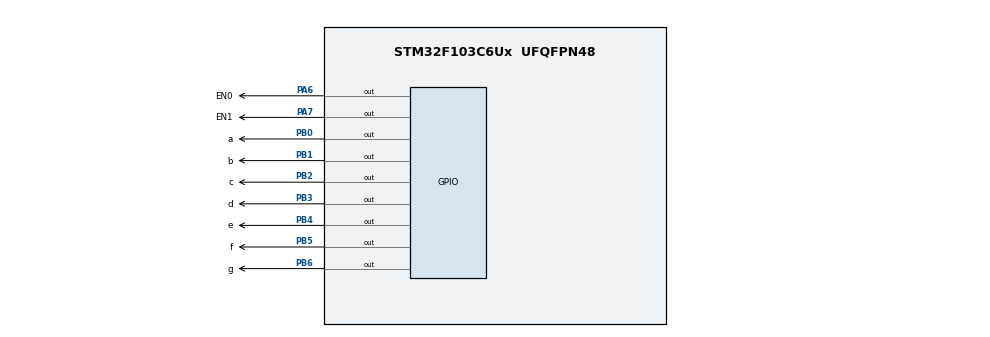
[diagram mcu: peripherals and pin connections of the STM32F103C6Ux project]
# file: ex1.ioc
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Mcu.Family=STM32F1
Mcu.Name=STM32F103C6Ux
Mcu.Package=UFQFPN48
NVIC.PriorityGroup=NVIC_PRIORITYGROUP_4
NVIC.TIM2_IRQn=true\:0\:0\:false\:false\:true\:true\:true
PA6.GPIO_Label=EN0
PA6.Signal=GPIO_Output
PA7.GPIO_Label=EN1
PA7.Signal=GPIO_Output
PB0.GPIO_Label=a
PB0.Signal=GPIO_Output
PB1.GPIO_Label=b
PB1.Signal=GPIO_Output
PB2.GPIO_Label=c
PB2.Signal=GPIO_Output
PB3.GPIO_Label=d
PB3.Signal=GPIO_Output
PB4.GPIO_Label=e
PB4.Signal=GPIO_Output
PB5.GPIO_Label=f
PB5.Signal=GPIO_Output
PB6.GPIO_Label=g
PB6.Signal=GPIO_Output
ProjectManager.HeapSize=0x200
ProjectManager.StackSize=0x400
ProjectManager.TargetToolchain=STM32CubeIDE
RCC.APB1Freq_Value=8000000
RCC.APB2Freq_Value=8000000
TIM2.Period=9
TIM2.Prescaler=7999
VP_SYS_VS_ND.Mode=No_Debug
VP_TIM2_VS_ClockSourceINT.Mode=Internal
board=custom

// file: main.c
/* USER CODE BEGIN Header */
/**
  ******************************************************************************
  * @file           : main.c
  * @brief          : Main program body
  ******************************************************************************
  * @attention
  *
  * <h2><center>&copy; Copyright (c) 2022 STMicroelectronics.
  * All rights reserved.</center></h2>
  *
  * This software component is licensed by ST under BSD 3-Clause license,
  * the "License"; You may not use this file except in compliance with the
  * License. You may obtain a copy of the License at:
  *                        opensource.org/licenses/BSD-3-Clause
  *
  ******************************************************************************
  */
/* USER CODE END Header */
#include "main.h"

TIM_HandleTypeDef htim2;

void SystemClock_Config(void);
static void MX_GPIO_Init(void);
static void MX_TIM2_Init(void);

int main(void)
{

  /* MCU Configuration--------------------------------------------------------*/

  /* Reset of all peripherals, Initializes the Flash interface and the Systick. */
  HAL_Init();

  /* Configure the system clock */
  SystemClock_Config();

  /* Initialize all configured peripherals */
  MX_GPIO_Init();
  MX_TIM2_Init();
  /* USER CODE BEGIN 2 */
   HAL_TIM_Base_Start_IT (&htim2);
  /* USER CODE END 2 */

  /* Infinite loop */
  while (1)
  {

  }
}

void SystemClock_Config(void)
{
  RCC_OscInitTypeDef RCC_OscInitStruct = {0};
  RCC_ClkInitTypeDef RCC_ClkInitStruct = {0};

  /** Initializes the RCC Oscillators according to the specified parameters
  * in the RCC_OscInitTypeDef structure.
  */
  RCC_OscInitStruct.OscillatorType = RCC_OSCILLATORTYPE_HSI;
  RCC_OscInitStruct.HSIState = RCC_HSI_ON;
  RCC_OscInitStruct.HSICalibrationValue = RCC_HSICALIBRATION_DEFAULT;
  RCC_OscInitStruct.PLL.PLLState = RCC_PLL_NONE;
  if (HAL_RCC_OscConfig(&RCC_OscInitStruct) != HAL_OK)
  {
    Error_Handler();
  }
  /** Initializes the CPU, AHB and APB buses clocks
  */
  RCC_ClkInitStruct.ClockType = RCC_CLOCKTYPE_HCLK|RCC_CLOCKTYPE_SYSCLK
                              |RCC_CLOCKTYPE_PCLK1|RCC_CLOCKTYPE_PCLK2;
  RCC_ClkInitStruct.SYSCLKSource = RCC_SYSCLKSOURCE_HSI;
  RCC_ClkInitStruct.AHBCLKDivider = RCC_SYSCLK_DIV1;
  RCC_ClkInitStruct.APB1CLKDivider = RCC_HCLK_DIV1;
  RCC_ClkInitStruct.APB2CLKDivider = RCC_HCLK_DIV1;

  if (HAL_RCC_ClockConfig(&RCC_ClkInitStruct, FLASH_LATENCY_0) != HAL_OK)
  {
    Error_Handler();
  }
}

static void MX_TIM2_Init(void)
{

  TIM_ClockConfigTypeDef sClockSourceConfig = {0};
  TIM_MasterConfigTypeDef sMasterConfig = {0};

  htim2.Instance = TIM2;
  htim2.Init.Prescaler = 7999;
  htim2.Init.CounterMode = TIM_COUNTERMODE_UP;
  htim2.Init.Period = 9;
  htim2.Init.ClockDivision = TIM_CLOCKDIVISION_DIV1;
  htim2.Init.AutoReloadPreload = TIM_AUTORELOAD_PRELOAD_DISABLE;
  if (HAL_TIM_Base_Init(&htim2) != HAL_OK)
  {
    Error_Handler();
  }
  sClockSourceConfig.ClockSource = TIM_CLOCKSOURCE_INTERNAL;
  if (HAL_TIM_ConfigClockSource(&htim2, &sClockSourceConfig) != HAL_OK)
  {
    Error_Handler();
  }
  sMasterConfig.MasterOutputTrigger = TIM_TRGO_RESET;
  sMasterConfig.MasterSlaveMode = TIM_MASTERSLAVEMODE_DISABLE;
  if (HAL_TIMEx_MasterConfigSynchronization(&htim2, &sMasterConfig) != HAL_OK)
  {
    Error_Handler();
  }

}

static void MX_GPIO_Init(void)
{
  GPIO_InitTypeDef GPIO_InitStruct = {0};

  /* GPIO Ports Clock Enable */
  __HAL_RCC_GPIOA_CLK_ENABLE();
  __HAL_RCC_GPIOB_CLK_ENABLE();

  /*Configure GPIO pin Output Level */
  HAL_GPIO_WritePin(GPIOA, EN0_Pin|EN1_Pin, GPIO_PIN_RESET);

  /*Configure GPIO pin Output Level */
  HAL_GPIO_WritePin(GPIOB, a_Pin|b_Pin|c_Pin|d_Pin
                          |e_Pin|f_Pin|g_Pin, GPIO_PIN_RESET);

  /*Configure GPIO pins : EN0_Pin EN1_Pin */
  GPIO_InitStruct.Pin = EN0_Pin|EN1_Pin;
  GPIO_InitStruct.Mode = GPIO_MODE_OUTPUT_PP;
  GPIO_InitStruct.Pull = GPIO_NOPULL;
  GPIO_InitStruct.Speed = GPIO_SPEED_FREQ_LOW;
  HAL_GPIO_Init(GPIOA, &GPIO_InitStruct);

  /*Configure GPIO pins : a_Pin b_Pin c_Pin d_Pin
                           e_Pin f_Pin g_Pin */
  GPIO_InitStruct.Pin = a_Pin|b_Pin|c_Pin|d_Pin
                          |e_Pin|f_Pin|g_Pin;
  GPIO_InitStruct.Mode = GPIO_MODE_OUTPUT_PP;
  GPIO_InitStruct.Pull = GPIO_NOPULL;
  GPIO_InitStruct.Speed = GPIO_SPEED_FREQ_LOW;
  HAL_GPIO_Init(GPIOB, &GPIO_InitStruct);

}

/* USER CODE BEGIN 4 */
void Display7SEG(int count){
	switch (count) {
		case 0:
			HAL_GPIO_WritePin(a_GPIO_Port, a_Pin, 0);
			HAL_GPIO_WritePin(b_GPIO_Port, b_Pin, 0);
			HAL_GPIO_WritePin(c_GPIO_Port, c_Pin, 0);
			HAL_GPIO_WritePin(d_GPIO_Port, d_Pin, 0);
			HAL_GPIO_WritePin(e_GPIO_Port, e_Pin, 0);
			HAL_GPIO_WritePin(f_GPIO_Port, f_Pin, 0);
			HAL_GPIO_WritePin(g_GPIO_Port, g_Pin, 1);
			break;
		case 1:
				HAL_GPIO_WritePin(a_GPIO_Port, a_Pin, 1);
				HAL_GPIO_WritePin(b_GPIO_Port, b_Pin, 0);
				HAL_GPIO_WritePin(c_GPIO_Port, c_Pin, 0);
				HAL_GPIO_WritePin(d_GPIO_Port, d_Pin, 1);
				HAL_GPIO_WritePin(e_GPIO_Port, e_Pin, 1);
				HAL_GPIO_WritePin(f_GPIO_Port, f_Pin, 1);
				HAL_GPIO_WritePin(g_GPIO_Port, g_Pin, 1);
				break;
		case 2:
				HAL_GPIO_WritePin(a_GPIO_Port, a_Pin, 0);
				HAL_GPIO_WritePin(b_GPIO_Port, b_Pin, 0);
				HAL_GPIO_WritePin(c_GPIO_Port, c_Pin, 1);
				HAL_GPIO_WritePin(d_GPIO_Port, d_Pin, 0);
				HAL_GPIO_WritePin(e_GPIO_Port, e_Pin, 0);
				HAL_GPIO_WritePin(f_GPIO_Port, f_Pin, 1);
				HAL_GPIO_WritePin(g_GPIO_Port, g_Pin, 0);
				break;
		case 3:
				HAL_GPIO_WritePin(a_GPIO_Port, a_Pin, 0);
				HAL_GPIO_WritePin(b_GPIO_Port, b_Pin, 0);
				HAL_GPIO_WritePin(c_GPIO_Port, c_Pin, 0);
				HAL_GPIO_WritePin(d_GPIO_Port, d_Pin, 0);
				HAL_GPIO_WritePin(e_GPIO_Port, e_Pin, 1);
				HAL_GPIO_WritePin(f_GPIO_Port, f_Pin, 1);
				HAL_GPIO_WritePin(g_GPIO_Port, g_Pin, 0);
				break;
		case 4:
				HAL_GPIO_WritePin(a_GPIO_Port, a_Pin, 1);
				HAL_GPIO_WritePin(b_GPIO_Port, b_Pin, 0);
				HAL_GPIO_WritePin(c_GPIO_Port, c_Pin, 0);
				HAL_GPIO_WritePin(d_GPIO_Port, d_Pin, 1);
				HAL_GPIO_WritePin(e_GPIO_Port, e_Pin, 1);
				HAL_GPIO_WritePin(f_GPIO_Port, f_Pin, 0);
				HAL_GPIO_WritePin(g_GPIO_Port, g_Pin, 0);
				break;
		case 5:
				HAL_GPIO_WritePin(a_GPIO_Port, a_Pin, 0);
				HAL_GPIO_WritePin(b_GPIO_Port, b_Pin, 1);
				HAL_GPIO_WritePin(c_GPIO_Port, c_Pin, 0);
				HAL_GPIO_WritePin(d_GPIO_Port, d_Pin, 0);
				HAL_GPIO_WritePin(e_GPIO_Port, e_Pin, 1);
				HAL_GPIO_WritePin(f_GPIO_Port, f_Pin, 0);
				HAL_GPIO_WritePin(g_GPIO_Port, g_Pin, 0);
				break;
		case 6:
				HAL_GPIO_WritePin(a_GPIO_Port, a_Pin, 0);
				HAL_GPIO_WritePin(b_GPIO_Port, b_Pin, 1);
				HAL_GPIO_WritePin(c_GPIO_Port, c_Pin, 0);
				HAL_GPIO_WritePin(d_GPIO_Port, d_Pin, 0);
				HAL_GPIO_WritePin(e_GPIO_Port, e_Pin, 0);
				HAL_GPIO_WritePin(f_GPIO_Port, f_Pin, 0);
				HAL_GPIO_WritePin(g_GPIO_Port, g_Pin, 0);
				break;
		case 7:
				HAL_GPIO_WritePin(a_GPIO_Port, a_Pin, 0);
				HAL_GPIO_WritePin(b_GPIO_Port, b_Pin, 0);
				HAL_GPIO_WritePin(c_GPIO_Port, c_Pin, 0);
				HAL_GPIO_WritePin(d_GPIO_Port, d_Pin, 1);
				HAL_GPIO_WritePin(e_GPIO_Port, e_Pin, 1);
				HAL_GPIO_WritePin(f_GPIO_Port, f_Pin, 1);
				HAL_GPIO_WritePin(g_GPIO_Port, g_Pin, 1);
				break;
		case 8:
				HAL_GPIO_WritePin(a_GPIO_Port, a_Pin, 0);
				HAL_GPIO_WritePin(b_GPIO_Port, b_Pin, 0);
				HAL_GPIO_WritePin(c_GPIO_Port, c_Pin, 0);
				HAL_GPIO_WritePin(d_GPIO_Port, d_Pin, 0);
				HAL_GPIO_WritePin(e_GPIO_Port, e_Pin, 0);
				HAL_GPIO_WritePin(f_GPIO_Port, f_Pin, 0);
				HAL_GPIO_WritePin(g_GPIO_Port, g_Pin, 0);
				break;
		case 9:
				HAL_GPIO_WritePin(a_GPIO_Port, a_Pin, 0);
				HAL_GPIO_WritePin(b_GPIO_Port, b_Pin, 0);
				HAL_GPIO_WritePin(c_GPIO_Port, c_Pin, 0);
				HAL_GPIO_WritePin(d_GPIO_Port, d_Pin, 0);
				HAL_GPIO_WritePin(e_GPIO_Port, e_Pin, 1);
				HAL_GPIO_WritePin(f_GPIO_Port, f_Pin, 0);
				HAL_GPIO_WritePin(g_GPIO_Port, g_Pin, 0);
				break;
		default:
			break;
	}
}
int counter = 50;
int number = 1;
void HAL_TIM_PeriodElapsedCallback(TIM_HandleTypeDef * htim){
	counter--;
	if (counter <= 0){
		counter = 50;
     if (number == 1){
    	 HAL_GPIO_WritePin(EN0_GPIO_Port, EN0_Pin,0);
    	 HAL_GPIO_WritePin(EN1_GPIO_Port, EN1_Pin,1);
    	 Display7SEG(1);
    	 number++;
     }
     else{
    	 HAL_GPIO_WritePin(EN0_GPIO_Port, EN0_Pin,1);
    	 HAL_GPIO_WritePin(EN1_GPIO_Port, EN1_Pin,0);
    	 Display7SEG(2);
    	 number--;
     }
      }
}
/* USER CODE END 4 */

void Error_Handler(void)
{
  __disable_irq();
  while (1)
  {
  }
}

/************************ (C) COPYRIGHT STMicroelectronics *****END OF FILE****/
